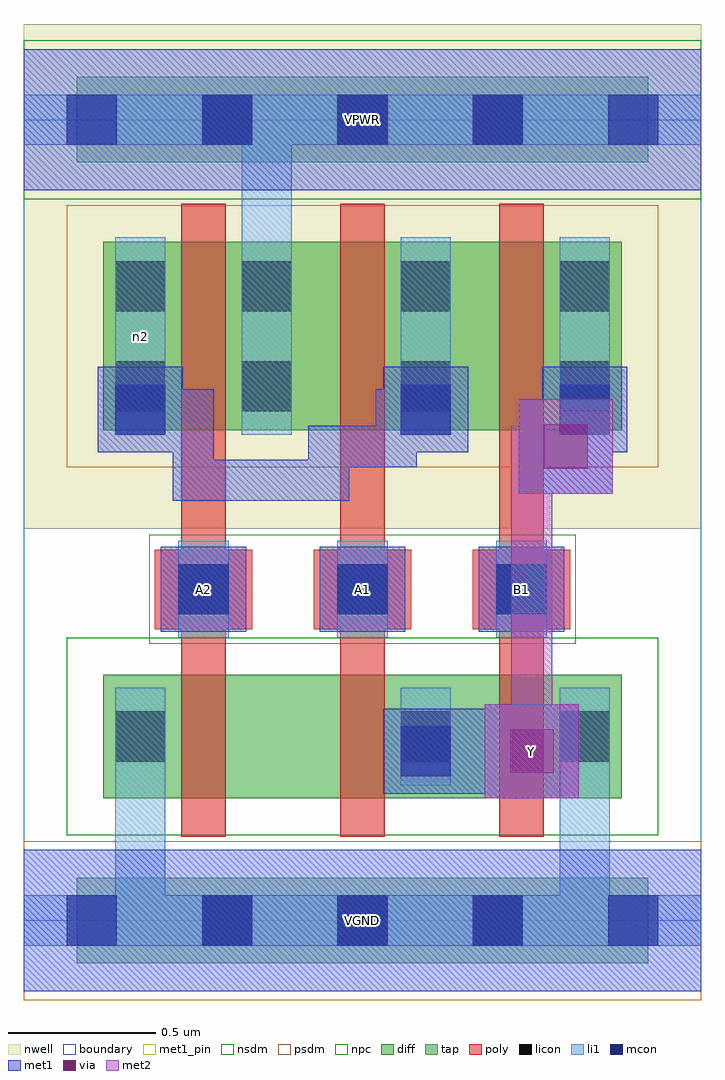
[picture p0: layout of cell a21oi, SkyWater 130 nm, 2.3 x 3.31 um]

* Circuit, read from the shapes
.subckt a21oi A1 A2 B1 VGND VPWR Y n2
XM1 n1 A2 VGND VGND sky130_fd_pr__nfet_01v8 w=0.42 l=0.15
XM2 Y A1 n1 VGND sky130_fd_pr__nfet_01v8 w=0.42 l=0.15
XM3 VGND B1 Y VGND sky130_fd_pr__nfet_01v8 w=0.42 l=0.15
XM4 VPWR A2 n2 VPWR sky130_fd_pr__pfet_01v8 w=0.64 l=0.15
XM5 n2 A1 VPWR VPWR sky130_fd_pr__pfet_01v8 w=0.64 l=0.15
XM6 Y B1 n2 VPWR sky130_fd_pr__pfet_01v8 w=0.64 l=0.15
.ends

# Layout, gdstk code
import gdstk
lib = gdstk.Library(unit=1e-6, precision=1e-09)
def R(c, l, rs):  # rectangles x0, y0, x1, y1
    for r in rs: c.add(gdstk.rectangle(r[:2], r[2:], *l))
def A(c, l, x, y, w, h, nx, ny, dx, dy):  # array of equal rectangles
    R(c, l, [(x+i*dx, y+j*dy, x+i*dx+w, y+j*dy+h) for i in range(nx) for j in range(ny)])
nwell = (64, 20)
diff = (65, 20)
tap = (65, 44)
poly = (66, 20)
licon = (66, 44)
li1 = (67, 20)
mcon = (67, 44)
met1_pin = (68, 16)
met1 = (68, 20)
via = (68, 44)
met2 = (69, 20)
nsdm = (93, 44)
psdm = (94, 20)
npc = (95, 20)
boundary = (235, 4)

a21oi = lib.new_cell('a21oi')
R(a21oi, nwell, [(0,1.33,2.3,3.045)])
R(a21oi, diff, [(0.27,0.415,2.03,0.835), (0.27,1.665,2.03,2.305)])
R(a21oi, tap, [(0.18,-0.145,2.12,0.145), (0.18,2.575,2.12,2.865)])
A(a21oi, poly, 0.535, 0.285, 0.15, 2.15, 3, 1, 0.54, 0)
A(a21oi, poly, 0.445, 0.99, 0.33, 0.27, 3, 1, 0.54, 0)
A(a21oi, licon, 0.605, -0.085, 0.17, 0.17, 3, 2, 0.46, 2.72)
A(a21oi, licon, 0.525, 1.04, 0.17, 0.17, 3, 1, 0.54, 0)
A(a21oi, licon, 0.74, 1.73, 0.17, 0.17, 3, 2, 0.54, 0.34)
R(a21oi, licon, [(0.31,0.54,0.48,0.71), (1.28,0.54,1.45,0.71), (1.82,0.54,1.99,0.71), (0.31,1.73,0.48,1.9), (0.31,2.07,0.48,2.24)])
A(a21oi, li1, 0.525, 0.96, 0.17, 0.33, 3, 1, 0.54, 0)
A(a21oi, li1, 0.74, 1.65, 0.17, 0.67, 3, 1, 0.54, 0)
R(a21oi, li1, [(0,-0.085,2.3,0.085), (0.31,-0.085,0.48,0.79), (1.82,-0.085,1.99,0.79), (0.31,0.46,0.48,0.79), (1.28,0.46,1.45,0.79), (1.82,0.46,1.99,0.79), (0.31,1.65,0.48,2.32), (0.74,1.65,0.91,2.805), (0,2.635,2.3,2.805)])
A(a21oi, mcon, 0.145, -0.085, 0.17, 0.17, 5, 2, 0.46, 2.72)
A(a21oi, mcon, 0.525, 1.04, 0.17, 0.17, 3, 1, 0.54, 0)
R(a21oi, mcon, [(1.28,0.49,1.45,0.66), (0.31,1.65,0.48,1.82), (1.28,1.65,1.45,1.82), (1.82,1.65,1.99,1.82)])
A(a21oi, met1_pin, 0.465, 0.98, 0.29, 0.29, 3, 1, 0.54, 0)
R(a21oi, met1_pin, [(0,-0.24,2.3,0.24), (1.565,0.415,1.885,0.735), (0,2.48,2.3,2.96)])
A(a21oi, met1, 0.465, 0.98, 0.29, 0.29, 3, 1, 0.54, 0)
R(a21oi, met1, [(0,-0.24,2.3,0.24), (1.565,0.415,1.885,0.735), (1.22,0.43,1.51,0.72), (1.51,0.43,1.565,0.72), (1.295,0.505,1.565,0.645), (1.425,0.505,1.795,0.645), (0.505,1.425,0.645,1.68), (0.505,1.425,1.105,1.565), (0.965,1.425,1.105,1.68), (1.68,1.45,2,1.77), (0.505,1.54,0.645,1.805), (0.965,1.54,1.335,1.68), (1.195,1.54,1.335,1.805), (1.77,1.54,1.91,1.805), (0.25,1.59,0.54,1.88), (1.22,1.59,1.51,1.88), (1.76,1.59,2.05,1.88), (0.325,1.665,0.645,1.805), (1.195,1.665,1.435,1.805), (1.77,1.665,1.975,1.805), (0,2.48,2.3,2.96)])
R(a21oi, via, [(1.65,0.5,1.8,0.65), (1.765,1.535,1.915,1.685)])
R(a21oi, met2, [(1.565,0.415,1.885,0.735), (1.655,0.505,1.795,1.68), (1.68,1.45,2,1.77), (1.655,1.54,1.91,1.68)])
R(a21oi, nsdm, [(0.145,0.29,2.155,0.96), (0,2.45,2.3,2.99)])
R(a21oi, psdm, [(0,-0.27,2.3,0.27), (0.145,1.54,2.155,2.43)])
R(a21oi, npc, [(0.425,0.94,1.875,1.31)])
R(a21oi, boundary, [(0,0,2.3,2.72)])
a21oi.add(gdstk.Label('n2', (0.395,1.985), layer=67, texttype=5))
a21oi.add(gdstk.Label('A1', (1.15,1.125), layer=68, texttype=5))
a21oi.add(gdstk.Label('A2', (0.61,1.125), layer=68, texttype=5))
a21oi.add(gdstk.Label('B1', (1.69,1.125), layer=68, texttype=5))
a21oi.add(gdstk.Label('Y', (1.725,0.575), layer=68, texttype=5))
a21oi.add(gdstk.Label('VPWR', (1.15,2.72), layer=68, texttype=5))
a21oi.add(gdstk.Label('VGND', (1.15,0), layer=68, texttype=5))
a21oi.add(gdstk.Label('A1', (1.15,1.125), layer=68, texttype=16))
a21oi.add(gdstk.Label('A2', (0.61,1.125), layer=68, texttype=16))
a21oi.add(gdstk.Label('B1', (1.69,1.125), layer=68, texttype=16))
a21oi.add(gdstk.Label('Y', (1.725,0.575), layer=68, texttype=16))
a21oi.add(gdstk.Label('VPWR', (1.15,2.72), layer=68, texttype=16))
a21oi.add(gdstk.Label('VGND', (1.15,0), layer=68, texttype=16))

lib.write_gds('a21oi.gds')
